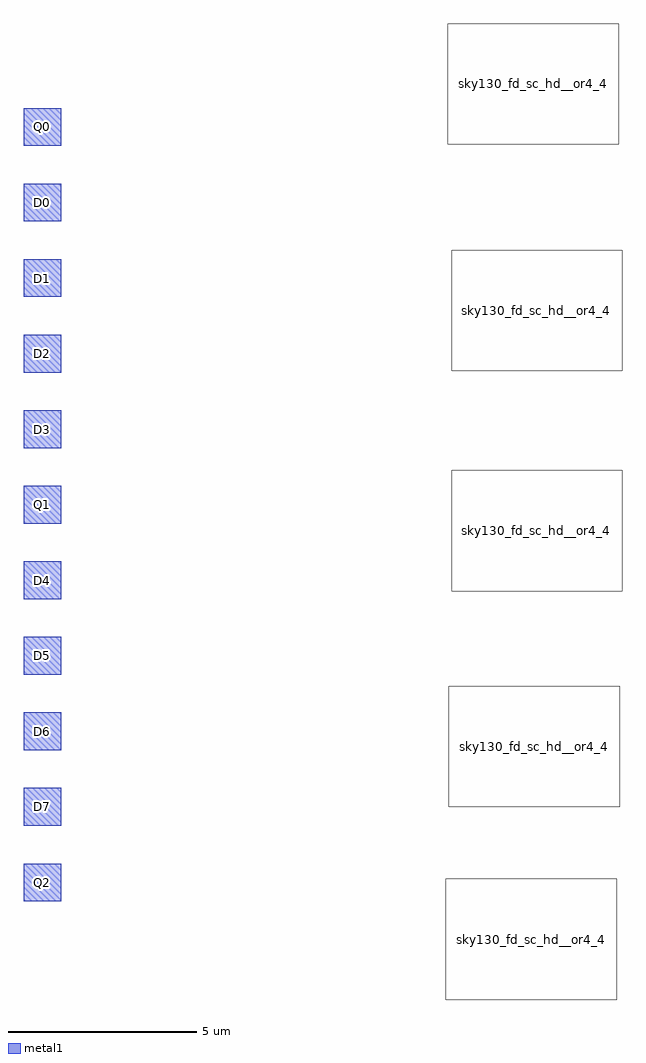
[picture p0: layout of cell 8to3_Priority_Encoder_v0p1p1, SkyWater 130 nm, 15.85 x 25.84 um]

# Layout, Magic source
magic
tech sky130A
<< metal1 >>
rect 0 0 100 100
rect 0 -200 100 -100
rect 0 -400 100 -300
rect 0 -600 100 -500
rect 0 -800 100 -700
rect 0 -1000 100 -900
rect 0 -1200 100 -1100
rect 0 -1400 100 -1300
rect 0 -1600 100 -1500
rect 0 -1800 100 -1700
rect 0 -2000 100 -1900
use sky130_fd_sc_hd__or4_4  sky130_fd_sc_hd__or4_4_0 $PDKPATH/libs.ref/sky130_fd_sc_hd/mag
transform 1 0 1145 0 1 -1726
box -19 -24 433 296
use sky130_fd_sc_hd__or4_4  sky130_fd_sc_hd__or4_4_1
transform 1 0 1137 0 1 -2236
box -19 -24 433 296
use sky130_fd_sc_hd__or4_4  x0
transform 1 0 1142 0 1 28
box -19 -24 433 296
use sky130_fd_sc_hd__or4_4  x1
transform 1 0 1152 0 1 -572
box -19 -24 433 296
use sky130_fd_sc_hd__or4_4  x2
transform 1 0 1152 0 1 -1155
box -19 -24 433 296
<< labels >>
flabel metal1 0 0 100 100 0 FreeSans 128 0 0 0 Q0
port 0 nsew
flabel metal1 0 -200 100 -100 0 FreeSans 128 0 0 0 D0
port 1 nsew
flabel metal1 0 -400 100 -300 0 FreeSans 128 0 0 0 D1
port 2 nsew
flabel metal1 0 -600 100 -500 0 FreeSans 128 0 0 0 D2
port 3 nsew
flabel metal1 0 -800 100 -700 0 FreeSans 128 0 0 0 D3
port 4 nsew
flabel metal1 0 -1000 100 -900 0 FreeSans 128 0 0 0 Q1
port 5 nsew
flabel metal1 0 -1200 100 -1100 0 FreeSans 128 0 0 0 D4
port 6 nsew
flabel metal1 0 -1400 100 -1300 0 FreeSans 128 0 0 0 D5
port 7 nsew
flabel metal1 0 -1600 100 -1500 0 FreeSans 128 0 0 0 D6
port 8 nsew
flabel metal1 0 -1800 100 -1700 0 FreeSans 128 0 0 0 D7
port 9 nsew
flabel metal1 0 -2000 100 -1900 0 FreeSans 128 0 0 0 Q2
port 10 nsew
<< end >>
